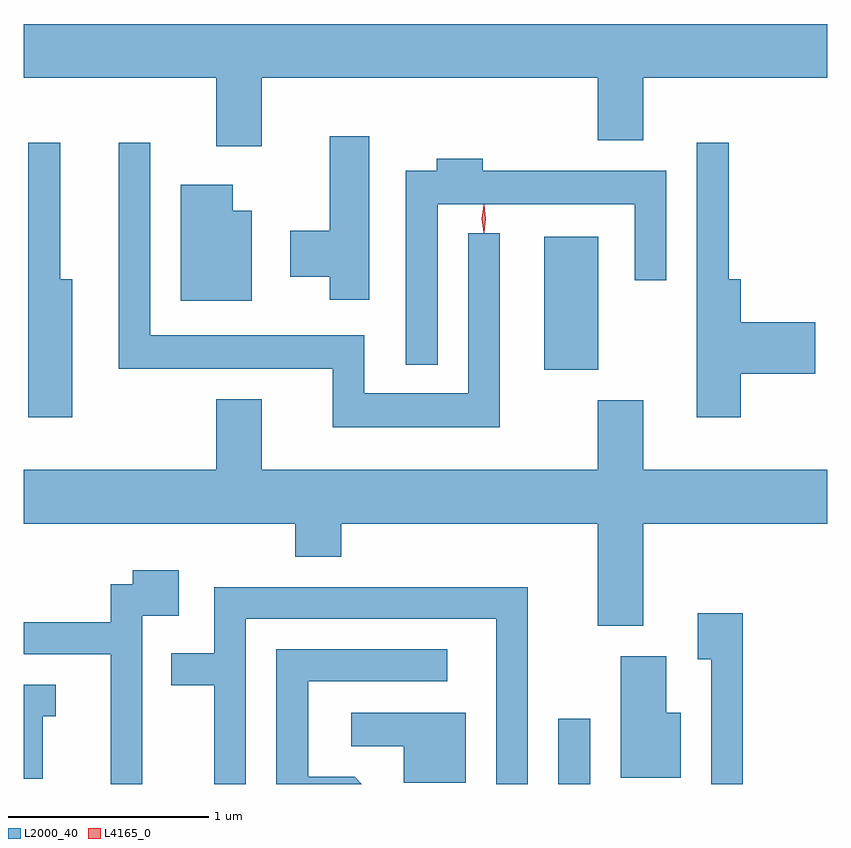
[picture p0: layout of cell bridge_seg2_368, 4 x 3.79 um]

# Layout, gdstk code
import gdstk
lib = gdstk.Library(unit=1e-6, precision=1e-09)
def R(c, l, rs):  # rectangles x0, y0, x1, y1
    for r in rs: c.add(gdstk.rectangle(r[:2], r[2:], *l))
def P(c, l, *ps):  # polygons
    for p in ps: c.add(gdstk.Polygon(p, *l))
L2000_40 = (2000, 40)
L4165_0 = (4165, 0)

bridge_seg2_368 = lib.new_cell('bridge_seg2_368')
R(bridge_seg2_368, L2000_40, [(633.056,1011.499,633.214,1011.823), (632.986,1013.561,633.254,1014.224)])
P(bridge_seg2_368, L2000_40, [(631.579,1015.016),(633.251,1015.016),(633.251,1014.706),(633.479,1014.706),(633.479,1015.016),(634.394,1015.016),(634.394,1015.284),(630.394,1015.284),(630.394,1015.016),(631.351,1015.016),(631.351,1014.676),(631.579,1014.676)],
  [(632.114,1014.724),(631.916,1014.724),(631.916,1014.254),(631.721,1014.254),(631.721,1014.026),(631.916,1014.026),(631.916,1013.911),(632.114,1013.911)],
  [(633.964,1013.541),(634.334,1013.541),(634.334,1013.799),(633.964,1013.799),(633.964,1014.014),(633.904,1014.014),(633.904,1014.693),(633.746,1014.693),(633.746,1013.326),(633.964,1013.326)],
  [(632.764,1014.243),(632.606,1014.243),(632.606,1013.444),(632.089,1013.444),(632.089,1013.734),(631.024,1013.734),(631.024,1014.693),(630.866,1014.693),(630.866,1013.566),(631.931,1013.566),(631.931,1013.276),(632.764,1013.276)],
  [(630.634,1014.014),(630.574,1014.014),(630.574,1014.693),(630.416,1014.693),(630.416,1013.326),(630.634,1013.326)],
  [(632.454,1014.386),(633.436,1014.386),(633.436,1014.008),(633.594,1014.008),(633.594,1014.554),(632.679,1014.554),(632.679,1014.614),(632.451,1014.614),(632.451,1014.554),(632.296,1014.554),(632.296,1013.588),(632.454,1013.588)],
  [(631.529,1014.354),(631.434,1014.354),(631.434,1014.484),(631.176,1014.484),(631.176,1013.906),(631.529,1013.906)],
  [(633.479,1012.796),(634.394,1012.796),(634.394,1013.064),(633.479,1013.064),(633.479,1013.409),(633.251,1013.409),(633.251,1013.064),(631.579,1013.064),(631.579,1013.414),(631.351,1013.414),(631.351,1013.064),(630.394,1013.064),(630.394,1012.796),(631.746,1012.796),(631.746,1012.631),(631.974,1012.631),(631.974,1012.796),(633.251,1012.796),(633.251,1012.286),(633.479,1012.286)],
  [(630.984,1012.336),(631.164,1012.336),(631.164,1012.564),(630.936,1012.564),(630.936,1012.494),(630.826,1012.494),(630.826,1012.304),(630.394,1012.304),(630.394,1012.146),(630.826,1012.146),(630.826,1011.499),(630.984,1011.499)],
  [(631.499,1012.321),(632.746,1012.321),(632.746,1011.499),(632.904,1011.499),(632.904,1012.479),(631.341,1012.479),(631.341,1012.149),(631.128,1012.149),(631.128,1011.991),(631.341,1011.991),(631.341,1011.499),(631.499,1011.499)],
  [(633.974,1012.349),(633.751,1012.349),(633.751,1012.121),(633.816,1012.121),(633.816,1011.499),(633.974,1011.499)],
  [(632.042,1011.534),(631.809,1011.534),(631.809,1012.011),(632.503,1012.011),(632.503,1012.169),(631.651,1012.169),(631.651,1011.499),(632.077,1011.499)],
  [(633.664,1011.854),(633.594,1011.854),(633.594,1012.134),(633.366,1012.134),(633.366,1011.531),(633.664,1011.531)],
  [(630.489,1011.836),(630.553,1011.836),(630.553,1011.994),(630.394,1011.994),(630.394,1011.526),(630.489,1011.526)],
  [(632.594,1011.854),(632.023,1011.854),(632.023,1011.686),(632.286,1011.686),(632.286,1011.506),(632.594,1011.506)])
P(bridge_seg2_368, L4165_0, [(632.684,1014.244),(632.675,1014.313),(632.684,1014.383),(632.685,1014.383),(632.686,1014.383),(632.695,1014.313),(632.686,1014.244),(632.685,1014.244)],
  [(632.685,1014.247),(632.684,1014.248),(632.675,1014.314),(632.684,1014.38),(632.685,1014.381),(632.686,1014.38),(632.695,1014.314),(632.686,1014.248)])

lib.write_gds('bridge_seg2_368.gds')
